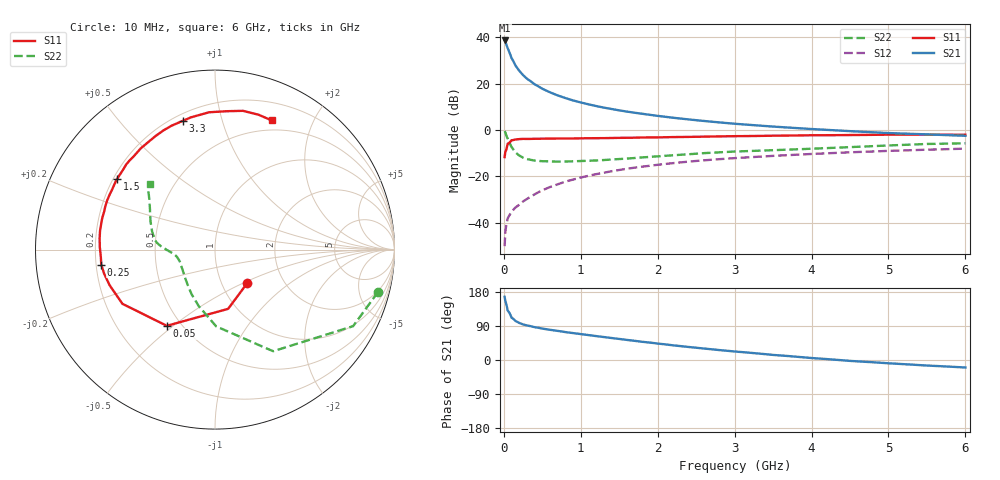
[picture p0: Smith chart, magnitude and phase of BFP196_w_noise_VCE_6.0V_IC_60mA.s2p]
! (c) 2017  Infineon Technologies AG, Munich
! Infineon Technologies  Discrete & RF Semiconductors
! BFP196
! VCE =  6.0 V,  IC =  60 mA
! Common Emitter S-Parameters:  Jan 2017
# GHz  S  MA  R  50
!  f  S11  S21  S12  S22
! GHz  MAG  ANG  MAG  ANG  MAG  ANG  MAG  ANG
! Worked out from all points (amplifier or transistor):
!   77 points, 10 MHz to 6 GHz, reference 50 ohm
!   highest |S21| = 38.6 dB at 10 MHz (marker M1)
!   |S21| within 3 dB of that: start of sweep to 46.06 MHz
!   unconditionally stable (mu >= 1): 520.2 MHz to 2.47 GHz
!   at 130 MHz: K = 0.65, MSG = 31.7 dB, |S12| = -34.2 dB
!   at 2.2 GHz: K = 1.01, MAG = 9.2 dB, |S12| = -14.3 dB
!   at 6 GHz: K = 0.95, MSG = 2.8 dB, |S12| = -8.1 dB
!   lowest NFmin = 1.56 dB at 450 MHz
!   S11 on the Smith chart (normalised r, x): 10 MHz: 1.32, -0.52; 50 MHz: 0.42, -0.47; 250 MHz: 0.22, -0.06; 1.5 GHz: 0.21, +0.31; 3.3 GHz: 0.24, +0.75; 6 GHz: 0.39, +1.46
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0.01  0.2587 -45.6  84.89 166.9  0.0031 81.7  0.9384 -14.6
0.02  0.3381 -77.5  80.52 155.2  0.0065 74.4  0.8799 -29.0
0.05  0.5024 -122.3  57.75 130.5  0.0123 59.0  0.6525 -60.2
0.1  0.5976 -149.6  35.38 111.7  0.0169 54.7  0.428 -89.1
0.15  0.6197 -161.3  24.67 103.2  0.0211 56.4  0.3278 -106.0
0.2  0.6321 -167.7  18.84 97.8  0.0243 60.2  0.2797 -118.0
0.25  0.6393 -172.5  15.19 93.9  0.0286 62.2  0.2519 -126.5
0.3  0.6373 -176.0  12.71 91.2  0.0323 63.5  0.2348 -133.7
0.4  0.642 178.7  9.625 86.6  0.0407 66.6  0.2178 -143.6
0.5  0.6459 174.4  7.713 82.9  0.0498 67.1  0.211 -150.3
0.6  0.649 170.7  6.462 79.7  0.0585 67.3  0.209 -155.7
0.7  0.65 167.4  5.54 76.8  0.0669 67.5  0.2061 -159.5
0.9  0.6527 161.3  4.316 71.0  0.0847 66.6  0.21 -164.7
1.1  0.6605 155.4  3.558 65.8  0.1022 65.0  0.2154 -168.9
1.5  0.6728 144.4  2.635 55.6  0.1364 60.0  0.2349 -174.7
2.1  0.6934 128.8  1.914 41.2  0.184 51.9  0.2759 179.3
2.6  0.7144 117.5  1.557 30.3  0.2204 45.1  0.3147 174.8
3.1  0.7335 107.5  1.318 20.8  0.2514 38.4  0.3454 169.0
3.3  0.7397 103.9  1.245 17.3  0.2629 35.9  0.3548 166.4
4.1  0.7664 91.0  1.022 3.8  0.3072 26.1  0.3981 154.7
5.1  0.7881 77.3  0.843 -9.8  0.3562 14.4  0.4678 141.7
6  0.7859 66.3  0.745 -19.8  0.3936 4.4  0.5138 134.8
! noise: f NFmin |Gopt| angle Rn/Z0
0.45  1.56  0.41  -174  0.06
0.9  1.72  0.48  -162  0.08
1.9  2.54  0.68  -132  0.35
2.4  2.93  0.7  -119  0.72
